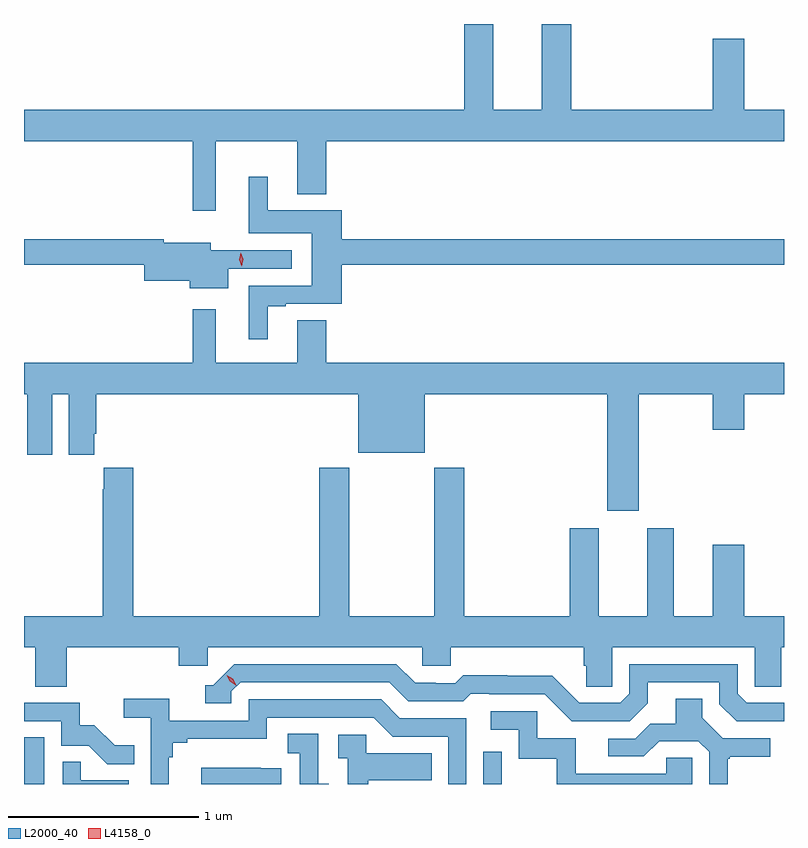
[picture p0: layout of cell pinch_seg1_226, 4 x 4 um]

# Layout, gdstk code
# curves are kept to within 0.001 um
import gdstk
lib = gdstk.Library(unit=1e-6, precision=1e-09)
def R(c, l, rs):  # rectangles x0, y0, x1, y1
    for r in rs: c.add(gdstk.rectangle(r[:2], r[2:], *l))
def P(c, l, *ps):  # polygons
    for p in ps: c.add(gdstk.Polygon(p, *l))
L2000_40 = (2000, 40)
L4158_0 = (4158, 0)

pinch_seg1_226 = lib.new_cell('pinch_seg1_226')
R(pinch_seg1_226, L2000_40, [(952.59,561.668,952.696,561.913), (955.008,561.668,955.104,561.838)])
P(pinch_seg1_226, L2000_40, [(953.599,565.052),(954.029,565.052),(954.029,564.773),(954.182,564.773),(954.182,565.052),(956.59,565.052),(956.59,565.216),(956.38,565.216),(956.38,565.591),(956.216,565.591),(956.216,565.216),(955.469,565.216),(955.469,565.668),(955.316,565.668),(955.316,565.216),(955.06,565.216),(955.06,565.668),(954.908,565.668),(954.908,565.216),(952.59,565.216),(952.59,565.052),(953.478,565.052),(953.478,564.684),(953.599,564.684)],
  [(953.872,564.183),(953.968,564.183),(953.968,564.195),(954.263,564.195),(954.263,564.4),(956.59,564.4),(956.59,564.536),(954.263,564.536),(954.263,564.688),(953.872,564.688),(953.872,564.865),(953.774,564.865),(953.774,564.566),(954.104,564.566),(954.104,564.291),(953.774,564.291),(953.774,564.009),(953.872,564.009)],
  [(953.665,564.381),(953.998,564.381),(953.998,564.477),(953.572,564.477),(953.572,564.517),(953.326,564.517),(953.326,564.536),(952.59,564.536),(952.59,564.4),(953.222,564.4),(953.222,564.317),(953.462,564.317),(953.462,564.278),(953.665,564.278)],
  [(955.825,563.72),(956.216,563.72),(956.216,563.532),(956.38,563.532),(956.38,563.72),(956.59,563.72),(956.59,563.884),(954.182,563.884),(954.182,564.11),(954.029,564.11),(954.029,563.884),(953.599,563.884),(953.599,564.166),(953.478,564.166),(953.478,563.884),(952.59,563.884),(952.59,563.72),(952.607,563.72),(952.607,563.512),(952.608,563.512),(952.608,563.4),(952.738,563.4),(952.738,563.72),(952.826,563.72),(952.826,563.4),(952.96,563.4),(952.96,563.512),(952.97,563.512),(952.97,563.72),(954.35,563.72),(954.35,563.411),(954.7,563.411),(954.7,563.72),(955.661,563.72),(955.661,563.106),(955.825,563.106)],
  [(952.814,562.388),(953.405,562.388),(953.405,562.29),(953.556,562.29),(953.556,562.388),(954.687,562.388),(954.687,562.29),(954.837,562.29),(954.837,562.388),(955.535,562.388),(955.535,562.29),(955.549,562.29),(955.549,562.18),(955.686,562.18),(955.686,562.388),(956.436,562.388),(956.436,562.18),(956.575,562.18),(956.575,562.388),(956.59,562.388),(956.59,562.552),(956.38,562.552),(956.38,562.927),(956.216,562.927),(956.216,562.552),(956.011,562.552),(956.011,563.014),(955.871,563.014),(955.871,562.552),(955.615,562.552),(955.615,563.014),(955.463,563.014),(955.463,562.552),(954.908,562.552),(954.908,563.332),(954.748,563.332),(954.748,562.552),(954.303,562.552),(954.303,563.332),(954.143,563.332),(954.143,562.552),(953.165,562.552),(953.165,563.332),(953.011,563.332),(953.011,563.219),(953.005,563.219),(953.005,562.552),(952.59,562.552),(952.59,562.388),(952.649,562.388),(952.649,562.18),(952.814,562.18)],
  [(956.59,562.095),(956.394,562.095),(956.346,562.143),(956.346,562.299),(955.776,562.299),(955.776,562.143),(955.728,562.095),(955.512,562.095),(955.37,562.237),(955.134,562.237),(955.134,562.24),(954.901,562.24),(954.859,562.197),(954.756,562.197),(954.756,562.2),(954.649,562.2),(954.55,562.299),(953.697,562.299),(953.586,562.188),(953.543,562.188),(953.543,562.092),(953.682,562.092),(953.682,562.155),(953.73,562.203),(954.513,562.203),(954.612,562.104),(954.901,562.104),(954.94,562.143),(955.039,562.143),(955.039,562.14),(955.332,562.14),(955.473,561.999),(955.779,561.999),(955.873,562.093),(955.873,562.203),(956.25,562.203),(956.25,562.089),(956.34,561.999),(956.59,561.998)],
  [(953.353,561.809),(953.372,561.809),(953.372,561.886),(953.449,561.886),(953.449,561.905),(953.868,561.905),(953.868,562.017),(954.432,562.017),(954.531,561.918),(954.822,561.918),(954.822,561.668),(954.918,561.668),(954.918,562.014),(954.568,562.014),(954.469,562.113),(953.772,562.113),(953.772,562.002),(953.354,562.002),(953.354,562.118),(953.115,562.118),(953.115,562.016),(953.256,562.016),(953.256,561.668),(953.353,561.668)],
  [(956.293,561.801),(956.305,561.801),(956.305,561.812),(956.518,561.812),(956.518,561.909),(956.268,561.909),(956.161,562.016),(956.161,562.118),(956.021,562.118),(956.021,561.986),(955.886,561.986),(955.806,561.906),(955.665,561.906),(955.665,561.813),(955.852,561.813),(955.933,561.894),(956.139,561.894),(956.196,561.837),(956.196,561.668),(956.293,561.668)],
  [(953.171,561.871),(953.067,561.871),(952.96,561.978),(952.884,561.978),(952.884,562.095),(952.59,562.095),(952.59,561.999),(952.785,561.999),(952.785,561.87),(952.93,561.87),(953.028,561.772),(953.171,561.772)],
  [(956.106,561.807),(955.969,561.807),(955.969,561.723),(955.495,561.723),(955.495,561.909),(955.29,561.909),(955.29,562.05),(955.047,562.05),(955.047,561.954),(955.194,561.954),(955.194,561.801),(955.393,561.801),(955.393,561.668),(956.106,561.668)],
  [(954.193,561.669),(954.138,561.669),(954.138,561.932),(953.979,561.932),(953.979,561.829),(954.042,561.829),(954.042,561.668),(954.193,561.668)],
  [(954.403,561.689),(954.737,561.689),(954.737,561.829),(954.39,561.829),(954.39,561.927),(954.243,561.927),(954.243,561.803),(954.294,561.803),(954.294,561.668),(954.403,561.668)],
  [(953.14,561.687),(952.889,561.687),(952.889,561.785),(952.794,561.785),(952.794,561.668),(953.14,561.668)],
  [(953.945,561.751),(953.837,561.751),(953.837,561.754),(953.523,561.754),(953.523,561.668),(953.945,561.668)])
P(pinch_seg1_226, L4158_0, [(953.736,564.392),(953.724,564.428),(953.731,564.464),(953.731,564.464),(953.731,564.464),(953.744,564.429),(953.737,564.392),(953.737,564.392)],
  [(953.705,562.188),(953.674,562.208),(953.658,562.24),(953.658,562.241),(953.658,562.241),(953.689,562.221),(953.706,562.189),(953.706,562.188)])

lib.write_gds('pinch_seg1_226.gds')
